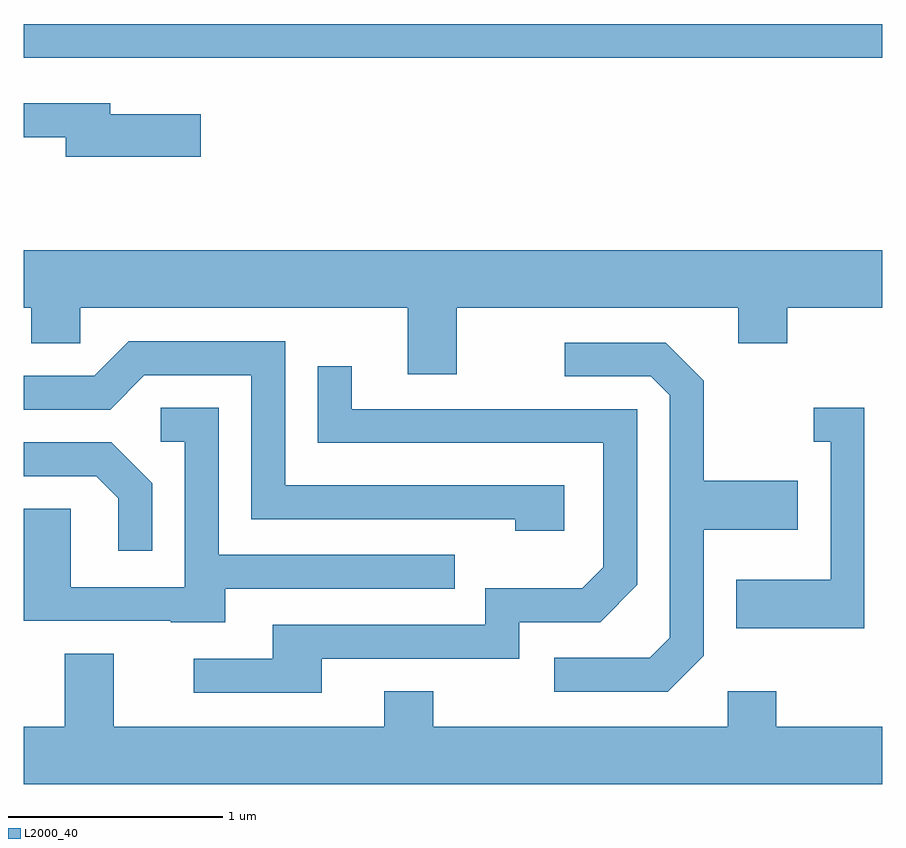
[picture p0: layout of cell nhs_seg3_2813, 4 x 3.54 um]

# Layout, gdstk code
import gdstk
lib = gdstk.Library(unit=1e-6, precision=1e-09)
def R(c, l, rs):  # rectangles x0, y0, x1, y1
    for r in rs: c.add(gdstk.rectangle(r[:2], r[2:], *l))
def P(c, l, *ps):  # polygons
    for p in ps: c.add(gdstk.Polygon(p, *l))
L2000_40 = (2000, 40)

nhs_seg3_2813 = lib.new_cell('nhs_seg3_2813')
R(nhs_seg3_2813, L2000_40, [(267.611,1169.361,271.611,1169.519)])
P(nhs_seg3_2813, L2000_40, [(268.434,1169.099),(268.014,1169.099),(268.014,1169.149),(267.611,1169.149),(267.611,1168.991),(267.806,1168.991),(267.806,1168.901),(268.434,1168.901)],
  [(269.629,1168.196),(270.941,1168.196),(270.941,1168.031),(271.169,1168.031),(271.169,1168.196),(271.611,1168.196),(271.611,1168.464),(267.611,1168.464),(267.611,1168.196),(267.646,1168.196),(267.646,1168.031),(267.874,1168.031),(267.874,1168.196),(269.401,1168.196),(269.401,1167.886),(269.629,1167.886)],
  [(270.129,1167.369),(268.829,1167.369),(268.829,1168.039),(268.099,1168.039),(267.939,1167.879),(267.611,1167.879),(267.611,1167.721),(268.012,1167.721),(268.172,1167.881),(268.671,1167.881),(268.671,1167.211),(269.901,1167.211),(269.901,1167.156),(270.129,1167.156)],
  [(270.779,1166.574),(270.779,1167.161),(271.219,1167.161),(271.219,1167.389),(270.779,1167.389),(270.779,1167.857),(270.602,1168.034),(270.133,1168.034),(270.133,1167.876),(270.534,1167.876),(270.621,1167.789),(270.621,1166.657),(270.529,1166.564),(270.083,1166.564),(270.083,1166.406),(270.612,1166.406)],
  [(268.999,1166.561),(269.919,1166.561),(269.919,1166.731),(270.297,1166.731),(270.469,1166.904),(270.469,1167.724),(269.139,1167.724),(269.139,1167.923),(268.981,1167.923),(268.981,1167.566),(270.311,1167.566),(270.311,1166.987),(270.214,1166.889),(269.761,1166.889),(269.761,1166.719),(268.771,1166.719),(268.771,1166.559),(268.403,1166.559),(268.403,1166.401),(268.999,1166.401)],
  [(268.549,1166.886),(269.618,1166.886),(269.618,1167.044),(268.519,1167.044),(268.519,1167.729),(268.248,1167.729),(268.248,1167.571),(268.361,1167.571),(268.361,1166.894),(267.829,1166.894),(267.829,1167.259),(267.611,1167.259),(267.611,1166.736),(268.295,1166.736),(268.295,1166.731),(268.549,1166.731)],
  [(271.529,1167.729),(271.293,1167.729),(271.293,1167.571),(271.371,1167.571),(271.371,1166.929),(270.931,1166.929),(270.931,1166.701),(271.529,1166.701)],
  [(268.209,1167.377),(268.017,1167.569),(267.611,1167.569),(267.611,1167.411),(267.949,1167.411),(268.051,1167.309),(268.051,1167.063),(268.209,1167.063)],
  [(271.611,1166.244),(271.119,1166.244),(271.119,1166.409),(270.891,1166.409),(270.891,1166.244),(269.519,1166.244),(269.519,1166.409),(269.291,1166.409),(269.291,1166.244),(268.029,1166.244),(268.029,1166.584),(267.801,1166.584),(267.801,1166.244),(267.611,1166.244),(267.611,1165.976),(271.611,1165.976)])

lib.write_gds('nhs_seg3_2813.gds')
